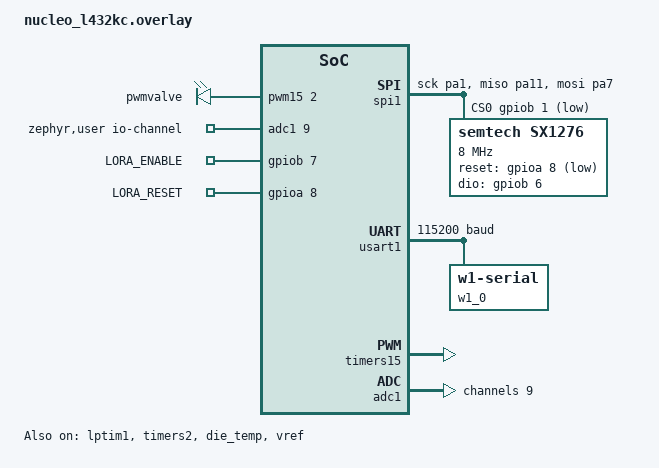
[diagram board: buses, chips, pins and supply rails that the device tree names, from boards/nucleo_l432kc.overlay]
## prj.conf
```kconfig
CONFIG_LOG=y
CONFIG_LORA=y
CONFIG_PRINTK=y

CONFIG_NO_OPTIMIZATIONS=y

CONFIG_MAIN_STACK_SIZE=4096
CONFIG_SYSTEM_WORKQUEUE_STACK_SIZE=2048
```

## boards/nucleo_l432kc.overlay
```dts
// DO NOT FORGET TO REMOVE SB9 JUMPER ON THE NUCLEO BOARD

/* SX1276 LoRa module connected to Nucleo-L432KC over SPI1 */
&spi1 {
    status = "okay";
    cs-gpios = <&gpiob 1 GPIO_ACTIVE_LOW>; 
    pinctrl-0 = < &spi1_sck_pa1 &spi1_miso_pa11 &spi1_mosi_pa7 >;
    lora0: sx1276@0 {
        compatible = "semtech,sx1276";
        reg = <0>;
        label = "SX1276";
        spi-max-frequency = <DT_FREQ_M(8)>;
        status = "okay";
        reset-gpios = <&gpioa 8 GPIO_ACTIVE_LOW>;  
        dio-gpios = <&gpiob 6 (GPIO_PULL_DOWN | GPIO_ACTIVE_HIGH)>;
                    //<&gpiob 0 (GPIO_PULL_DOWN | GPIO_ACTIVE_HIGH)>,
                    //<&gpioa 12 (GPIO_PULL_DOWN | GPIO_ACTIVE_HIGH)>;
        power-amplifier-output = "pa-boost";
        //dio3-tcxo-voltage = <SX126X_DIO3_TCXO_1V8>;
    };
};


&usart1_tx_pa9 {
	drive-open-drain;
	bias-pull-up;
    slew-rate = "very-high-speed";
};

&can1 {
    status = "disabled";
};

&i2c1 {
    status = "disabled";
};


&lptim1 {
    status = "okay";
};


&usart1 {
    status = "okay";
    single-wire;
    current-speed = <115200>;
    w1_0: w1-zephyr-serial-0 {
		compatible = "zephyr,w1-serial";
		#address-cells = <1>;
		#size-cells = <0>;
		status = "okay";

		ds18b20-0 {
            label = "SENSOR_DS18B20_0";
            compatible = "maxim,ds18b20";
            family-code = <0x28>;
            resolution = <12>;
            status = "okay";
        };
        /* 
        ds18b20-1 {
            label = "SENSOR_DS18B20_1";
            compatible = "maxim,ds18b20";
            family-code = <0x28>;
            resolution = <12>;
            status = "okay";
        };
        */
	};
};

&rtc {
    status = "disabled";
    //clocks = <&rcc STM32_CLOCK(APB1, 10U)>;
    //wakeup-source;
};

&timers6{
    status = "disabled";
};

&timers2{
    status = "okay";
    st,prescaler = <7999>;// will count with ticks of 0.1ms
    counter2: counter{
        compatible = "st,stm32-counter";
        status = "okay";
    };
};

&timers15{
    st,prescaler = <79>;
    status = "okay";
    pwm15: pwm{
        compatible = "st,stm32-pwm";
        status = "okay";
        pinctrl-0 = <&tim15_ch2_pa3>;
        pinctrl-names = "default";
    };
};

&die_temp{
    status = "okay";
};

&adc1{
    status = "okay";
    st,adc-clock-source = "SYNC";
    st,adc-prescaler = < 4 >;
    #address-cells = <1>;
	#size-cells = <0>;
    vref-mv = <3300>;
    channel@9{
        reg = <9>;
        zephyr,gain = "ADC_GAIN_1";
		zephyr,reference = "ADC_REF_INTERNAL";
		zephyr,acquisition-time = <ADC_ACQ_TIME_DEFAULT>;
		zephyr,resolution = <12>;
        //zephyr,oversampling = <8>;
    };
};

&vref {
    status = "okay";
};

/ {
    pwmleds: pwmleds{
        compatible = "pwm-leds";
        status = "okay";
        pwmvalve: tim15_ch2n_pwm{
            pwms = <&pwm15 2 PWM_MSEC(2) PWM_POLARITY_NORMAL>;
        };
    };
    aliases {
        lora0 = &lora0;
        rtc0 = &rtc;
        lora-en-pin = &lora_en;
        lora-reset-pin = &lora_reset;
    };

    chosen{
        zephyr,rtc = &rtc;

        //zephyr,cortex-m-idle-timer = &rtc;
    };

    zephyr,user{
        io-channels = <&adc1 9>;
    };

    leds{
        compatible = "gpio-leds";
        status = "okay";

        lora_en: lora-en{
            gpios = <&gpiob 7 GPIO_ACTIVE_HIGH>;
            label = "LORA_ENABLE";
        };
        lora_reset: lora-reset{
            gpios = <&gpioa 8 GPIO_ACTIVE_HIGH>;
            label = "LORA_RESET";
        };
    };

};
```

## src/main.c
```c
/*
 * Copyright (c) 2019 Manivannan Sadhasivam
 *
 * SPDX-License-Identifier: Apache-2.0
 */

#include <zephyr/device.h>
#include <zephyr/drivers/lora.h>
#include <errno.h>
#include <zephyr/sys/util.h>
#include <zephyr/kernel.h>
#include <zephyr/drivers/gpio.h>

#define DEFAULT_RADIO_NODE DT_ALIAS(lora0)

#define MAX_DATA_LEN 12

#define LOG_LEVEL CONFIG_LOG_DEFAULT_LEVEL
#include <zephyr/logging/log.h>
LOG_MODULE_REGISTER(lora_send);

char data[MAX_DATA_LEN] = {'h', 'e', 'l', 'l', 'o', 'w', 'o', 'r', 'l', 'd', ' ', '0'};

#define LORA_EN_NODE DT_ALIAS(lora_en_pin)
static const struct gpio_dt_spec lora_en = GPIO_DT_SPEC_GET(LORA_EN_NODE, gpios);

int main(void)
{
	gpio_pin_configure_dt(&lora_en, GPIO_OUTPUT_ACTIVE);
	gpio_pin_set_dt(&lora_en, 1);
	k_msleep(100);

	const struct device *const lora_dev = DEVICE_DT_GET(DEFAULT_RADIO_NODE);
	struct lora_modem_config config;
	int ret;

	if (!device_is_ready(lora_dev)) {
		LOG_ERR("%s Device not ready", lora_dev->name);
		return 0;
	}

	config.frequency = 433000000;
	config.bandwidth = BW_125_KHZ;
	config.datarate = SF_6;
	config.preamble_len = 16;
	config.coding_rate = CR_4_5;
	config.iq_inverted = false;
	config.public_network = false; // false is 0x12, true is 0x34
	config.tx_power = 20;
	config.tx = true;

	ret = lora_config(lora_dev, &config);
	if (ret < 0) {
		LOG_ERR("LoRa config failed");
		return 0;
	}

	while (1) {
		ret = lora_send(lora_dev, data, MAX_DATA_LEN);
		
		if (ret < 0) {
			LOG_ERR("LoRa send failed");
			return 0;
		}

		LOG_INF("Data sent %c!", data[MAX_DATA_LEN - 1]);

		/* Send data at 1s interval */
		k_sleep(K_MSEC(1000));

		/* Increment final character to differentiate packets */
		if (data[MAX_DATA_LEN - 1] == '9') {
			data[MAX_DATA_LEN - 1] = '0';
		} else {
			data[MAX_DATA_LEN - 1] += 1;
		}
	}
	return 0;
}
```
